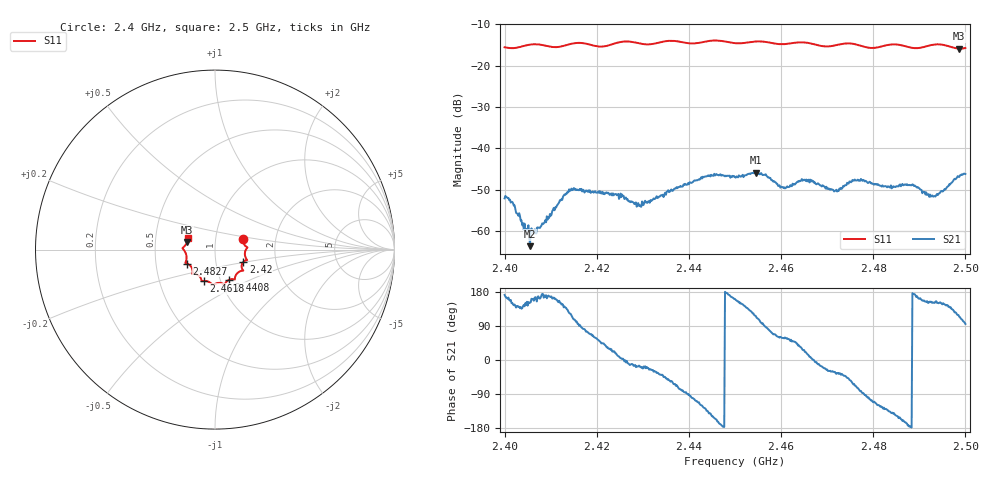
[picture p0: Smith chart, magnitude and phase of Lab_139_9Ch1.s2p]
# Hz S RI R 50
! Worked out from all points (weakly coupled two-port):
!   601 points, 2.4 GHz to 2.5 GHz, reference 50 ohm
!   highest |S21| = -45.89 dB at 2.4545 GHz (marker M1); lowest = -63.7 dB at 2.4055 GHz (marker M2)
!   lowest |S11| = -15.9 dB at 2.4987 GHz (marker M3), VSWR 1.38, Z = 36.5 + j3.21 ohm
!   |S11| at or under -10 dB: start of sweep to end of sweep
!   S12 and S22 are empty: the file has one direction only
!   S11 on the Smith chart (normalised r, x): 2.4 GHz: 1.36, +0.17; 2.42 GHz: 1.36, -0.19; 2.4408 GHz: 1.10, -0.38; 2.4618 GHz: 0.84, -0.30; 2.4827 GHz: 0.72, -0.12; 2.5 GHz: 0.73, +0.09
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2.4e9  0.1552 0.0615  -0.00246 0.000353  0 0  0 0
2.401667e9  0.1579 0.0403  -0.00195 0.00111  0 0  0 0
2.4055e9  0.1792 0.0133  -0.000575 0.000314  0 0  0 0
2.408167e9  0.1776 0.00839  -0.00123 0.000118  0 0  0 0
2.4135e9  0.1719 -0.0467  -0.00198 0.00203  0 0  0 0
2.416667e9  0.1786 -0.059  0.000216 0.00323  0 0  0 0
2.42e9  0.1571 -0.0692  0.00159 0.00244  0 0  0 0
2.429167e9  0.1429 -0.1196  0.00195 -0.000512  0 0  0 0
2.433333e9  0.1119 -0.1526  0.00209 -0.00145  0 0  0 0
2.440833e9  0.0781 -0.1687  -0.000704 -0.00384  0 0  0 0
2.45e9  0.0274 -0.1853  -0.00422 0.00147  0 0  0 0
2.4545e9  -0.00916 -0.1959  -0.00224 0.00456  0 0  0 0
2.461833e9  -0.0611 -0.175  0.002 0.00277  0 0  0 0
2.466667e9  -0.0762 -0.1681  0.00409 0.00027  0 0  0 0
2.472e9  -0.1149 -0.1351  0.00253 -0.00188  0 0  0 0
2.476e9  -0.1258 -0.1315  0.00161 -0.00388  0 0  0 0
2.482667e9  -0.1577 -0.0775  -0.00219 -0.00272  0 0  0 0
2.483333e9  -0.1617 -0.0763  -0.00245 -0.00243  0 0  0 0
2.488667e9  -0.1585 -0.0404  -0.00361 0.000383  0 0  0 0
2.493e9  -0.1795 0.0045  -0.00228 0.00127  0 0  0 0
2.498667e9  -0.155 0.0428  -0.00185 0.00411  0 0  0 0
2.5e9  -0.1512 0.0625  -0.000439 0.00487  0 0  0 0
